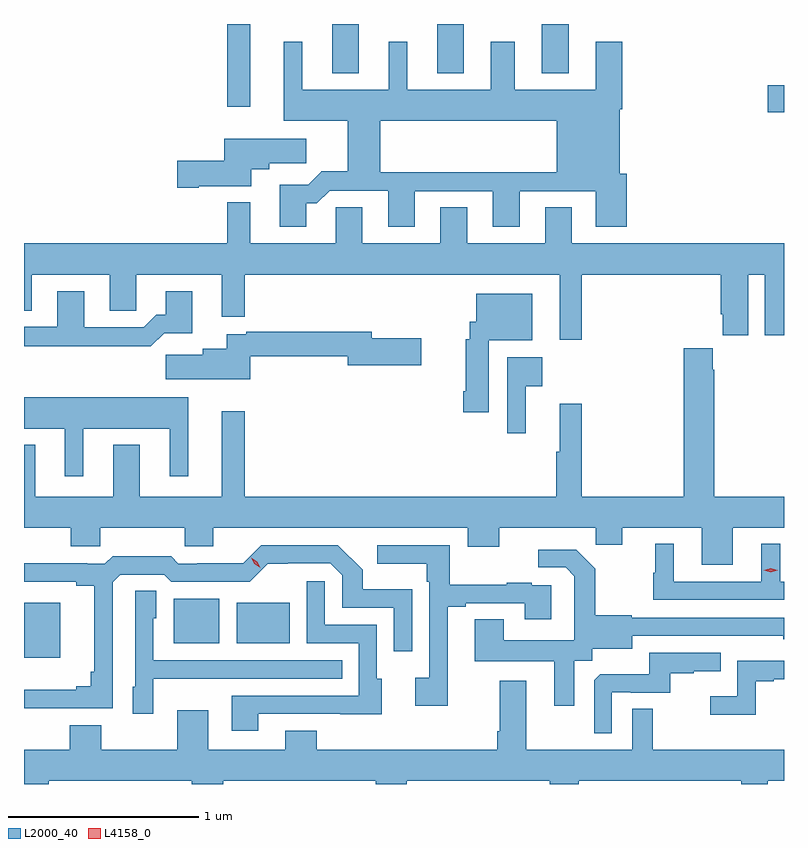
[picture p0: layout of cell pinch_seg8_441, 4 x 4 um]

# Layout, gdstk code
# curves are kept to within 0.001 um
import gdstk
lib = gdstk.Library(unit=1e-6, precision=1e-09)
def R(c, l, rs):  # rectangles x0, y0, x1, y1
    for r in rs: c.add(gdstk.rectangle(r[:2], r[2:], *l))
def A(c, l, x, y, w, h, nx, ny, dx, dy):  # array of equal rectangles
    R(c, l, [(x+i*dx, y+j*dy, x+i*dx+w, y+j*dy+h) for i in range(nx) for j in range(ny)])
def P(c, l, *ps):  # polygons
    for p in ps: c.add(gdstk.Polygon(p, *l))
L2000_40 = (2000, 40)
L4158_0 = (4158, 0)

pinch_seg8_441 = lib.new_cell('pinch_seg8_441')
A(pinch_seg8_441, L2000_40, 322.883, 1142.867, 0.14, 0.26, 3, 1, 0.552, 0)
R(pinch_seg8_441, L2000_40, [(321.261,1139.792,321.451,1140.082), (322.049,1139.867,322.288,1140.103), (322.382,1139.867,322.66,1140.082), (325.176,1142.663,325.261,1142.805), (322.332,1142.691,322.453,1143.127)])
P(pinch_seg8_441, L2000_40, [(322.607,1142.281),(322.607,1142.061),(322.747,1142.061),(322.747,1142.183),(322.802,1142.183),(322.869,1142.25),(323.177,1142.25),(323.177,1142.061),(323.317,1142.061),(323.317,1142.247),(323.729,1142.247),(323.729,1142.061),(323.869,1142.061),(323.869,1142.247),(324.269,1142.247),(324.269,1142.061),(324.434,1142.061),(324.434,1142.34),(324.397,1142.34),(324.397,1142.678),(324.41,1142.678),(324.41,1143.034),(324.269,1143.034),(324.269,1142.782),(323.845,1142.782),(323.845,1143.034),(323.717,1143.034),(323.717,1142.782),(323.278,1142.782),(323.278,1143.034),(323.18,1143.034),(323.18,1142.782),(322.726,1142.782),(322.726,1143.034),(322.628,1143.034),(322.628,1142.618),(322.964,1142.618),(322.964,1142.351),(322.826,1142.351),(322.823,1142.348),(323.135,1142.348),(323.135,1142.618),(324.065,1142.618),(324.065,1142.348),(322.823,1142.348),(322.756,1142.281)],
  [(322.18,1142.273),(322.456,1142.273),(322.456,1142.363),(322.552,1142.363),(322.552,1142.395),(322.747,1142.395),(322.747,1142.524),(322.316,1142.524),(322.316,1142.408),(322.068,1142.408),(322.068,1142.266),(322.18,1142.266)],
  [(324.197,1141.808),(324.929,1141.808),(324.929,1141.6),(324.938,1141.6),(324.938,1141.488),(325.072,1141.488),(325.072,1141.808),(325.16,1141.808),(325.16,1141.488),(325.261,1141.488),(325.261,1141.972),(324.145,1141.972),(324.145,1142.162),(324.005,1142.162),(324.005,1141.972),(323.593,1141.972),(323.593,1142.162),(323.453,1142.162),(323.453,1141.972),(323.041,1141.972),(323.041,1142.162),(322.902,1142.162),(322.902,1141.972),(322.453,1141.972),(322.453,1142.188),(322.332,1142.188),(322.332,1141.972),(321.261,1141.972),(321.261,1141.618),(321.301,1141.618),(321.301,1141.808),(321.713,1141.808),(321.713,1141.618),(321.852,1141.618),(321.852,1141.808),(322.301,1141.808),(322.301,1141.587),(322.422,1141.587),(322.422,1141.808),(324.08,1141.808),(324.08,1141.464),(324.197,1141.464)],
  [(321.998,1141.499),(322.147,1141.499),(322.147,1141.72),(322.007,1141.72),(322.007,1141.597),(321.958,1141.597),(321.891,1141.53),(321.577,1141.53),(321.577,1141.72),(321.437,1141.72),(321.437,1141.533),(321.261,1141.533),(321.261,1141.432),(321.673,1141.432),(321.673,1141.43),(321.929,1141.43)],
  [(323.707,1141.463),(323.935,1141.463),(323.935,1141.708),(323.642,1141.708),(323.642,1141.56),(323.608,1141.56),(323.608,1141.467),(323.585,1141.467),(323.585,1141.195),(323.573,1141.195),(323.573,1141.083),(323.707,1141.083)],
  [(322.451,1141.378),(322.964,1141.378),(322.964,1141.331),(323.353,1141.331),(323.353,1141.473),(323.092,1141.473),(323.092,1141.507),(322.534,1141.507),(322.534,1141.506),(322.432,1141.506),(322.432,1141.494),(322.328,1141.494),(322.328,1141.417),(322.202,1141.417),(322.202,1141.385),(322.008,1141.385),(322.008,1141.256),(322.451,1141.256)],
  [(324.991,1140.476),(325.261,1140.476),(325.261,1140.64),(324.894,1140.64),(324.894,1141.307),(324.887,1141.307),(324.887,1141.42),(324.734,1141.42),(324.734,1140.64),(324.197,1140.64),(324.197,1141.129),(324.08,1141.129),(324.08,1140.876),(324.061,1140.876),(324.061,1140.64),(322.423,1140.64),(322.423,1141.09),(322.301,1141.09),(322.301,1140.64),(321.871,1140.64),(321.871,1140.913),(321.731,1140.913),(321.731,1140.64),(321.319,1140.64),(321.319,1140.913),(321.261,1140.913),(321.261,1140.476),(321.508,1140.476),(321.508,1140.378),(321.663,1140.378),(321.663,1140.476),(322.108,1140.476),(322.108,1140.378),(322.258,1140.378),(322.258,1140.476),(323.597,1140.476),(323.597,1140.377),(323.761,1140.377),(323.761,1140.476),(324.271,1140.476),(324.271,1140.386),(324.409,1140.386),(324.409,1140.476),(324.827,1140.476),(324.827,1140.282),(324.991,1140.282)],
  [(323.903,1141.22),(323.989,1141.22),(323.989,1141.372),(323.805,1141.372),(323.805,1140.972),(323.903,1140.972)],
  [(321.574,1140.998),(322.028,1140.998),(322.028,1140.747),(322.126,1140.747),(322.126,1141.162),(321.261,1141.162),(321.261,1140.998),(321.476,1140.998),(321.476,1140.747),(321.574,1140.747)],
  [(325.261,1140.192),(325.24,1140.192),(325.24,1140.391),(325.142,1140.391),(325.142,1140.192),(324.682,1140.192),(324.682,1140.391),(324.584,1140.391),(324.584,1140.24),(324.573,1140.24),(324.573,1140.096),(325.261,1140.096)],
  [(321.729,1140.189),(321.768,1140.228),(321.999,1140.228),(322.035,1140.192),(322.449,1140.192),(322.544,1140.287),(322.872,1140.288),(322.935,1140.225),(322.935,1140.054),(323.208,1140.054),(323.208,1139.826),(323.304,1139.826),(323.304,1140.151),(323.043,1140.151),(323.043,1140.254),(322.912,1140.384),(322.509,1140.384),(322.415,1140.29),(322.174,1140.29),(322.174,1140.285),(322.074,1140.285),(322.035,1140.325),(321.727,1140.325),(321.687,1140.285),(321.593,1140.285),(321.593,1140.29),(321.261,1140.29),(321.261,1140.192),(321.536,1140.192),(321.536,1140.17),(321.632,1140.17),(321.632,1139.719),(321.613,1139.719),(321.613,1139.642),(321.536,1139.642),(321.536,1139.623),(321.261,1139.623),(321.261,1139.526),(321.729,1139.526)],
  [(323.491,1140.06),(323.587,1140.06),(323.587,1140.078),(323.897,1140.078),(323.897,1139.994),(324.037,1139.994),(324.037,1140.174),(323.933,1140.174),(323.933,1140.187),(323.801,1140.187),(323.801,1140.176),(323.503,1140.176),(323.503,1140.384),(323.121,1140.384),(323.121,1140.287),(323.382,1140.287),(323.382,1140.191),(323.394,1140.191),(323.394,1139.686),(323.319,1139.686),(323.319,1139.538),(323.491,1139.538)],
  [(324.157,1139.776),(324.252,1139.776),(324.252,1139.84),(324.463,1139.84),(324.463,1139.907),(325.257,1139.906),(325.257,1139.888),(325.261,1139.888),(325.261,1140.003),(324.459,1140.003),(324.459,1140.016),(324.267,1140.016),(324.267,1140.261),(324.167,1140.361),(323.967,1140.361),(323.967,1140.267),(324.111,1140.267),(324.158,1140.22),(324.158,1140.125),(324.156,1140.125),(324.156,1139.884),(323.785,1139.884),(323.785,1139.993),(323.633,1139.993),(323.633,1139.774),(324.053,1139.774),(324.053,1139.538),(324.157,1139.538)],
  [(322.495,1139.496),(322.925,1139.496),(322.925,1139.495),(323.143,1139.495),(323.143,1139.682),(323.118,1139.682),(323.118,1139.964),(322.845,1139.964),(322.845,1140.193),(322.749,1140.193),(322.749,1139.868),(323.022,1139.868),(323.022,1139.592),(322.355,1139.592),(322.355,1139.406),(322.495,1139.406)],
  [(321.942,1139.681),(322.259,1139.681),(322.259,1139.682),(322.937,1139.682),(322.937,1139.778),(321.942,1139.778),(321.942,1140),(321.958,1140),(321.958,1140.143),(321.846,1140.143),(321.846,1139.64),(321.833,1139.64),(321.833,1139.496),(321.942,1139.496)],
  [(324.354,1139.61),(324.454,1139.61),(324.454,1139.607),(324.662,1139.607),(324.662,1139.709),(324.785,1139.709),(324.785,1139.72),(324.929,1139.72),(324.929,1139.817),(324.552,1139.817),(324.552,1139.705),(324.293,1139.705),(324.261,1139.673),(324.261,1139.393),(324.354,1139.393)],
  [(325.113,1139.667),(325.207,1139.667),(325.207,1139.679),(325.261,1139.679),(325.261,1139.775),(325.014,1139.775),(325.014,1139.59),(324.873,1139.59),(324.873,1139.492),(325.113,1139.492)],
  [(321.392,1139.144),(322.145,1139.144),(322.145,1139.127),(322.31,1139.127),(322.31,1139.144),(323.111,1139.144),(323.111,1139.127),(323.276,1139.127),(323.276,1139.144),(324.029,1139.144),(324.029,1139.127),(324.181,1139.127),(324.181,1139.144),(325.037,1139.144),(325.037,1139.127),(325.176,1139.127),(325.176,1139.144),(325.261,1139.144),(325.261,1139.308),(324.571,1139.308),(324.571,1139.522),(324.462,1139.522),(324.462,1139.308),(323.905,1139.308),(323.905,1139.671),(323.765,1139.671),(323.765,1139.404),(323.753,1139.404),(323.753,1139.308),(322.801,1139.308),(322.801,1139.407),(322.637,1139.407),(322.637,1139.308),(322.231,1139.308),(322.231,1139.515),(322.067,1139.515),(322.067,1139.308),(321.667,1139.308),(321.667,1139.437),(321.503,1139.437),(321.503,1139.308),(321.261,1139.308),(321.261,1139.127),(321.392,1139.127)])
P(pinch_seg8_441, L4158_0, [(325.191,1140.242),(325.155,1140.252),(325.155,1140.252),(325.155,1140.253),(325.191,1140.262),(325.227,1140.253),(325.227,1140.252),(325.227,1140.252)],
  [(322.504,1140.264),(322.473,1140.285),(322.458,1140.319),(322.458,1140.319),(322.458,1140.319),(322.489,1140.298),(322.504,1140.264),(322.504,1140.264)])

lib.write_gds('pinch_seg8_441.gds')
